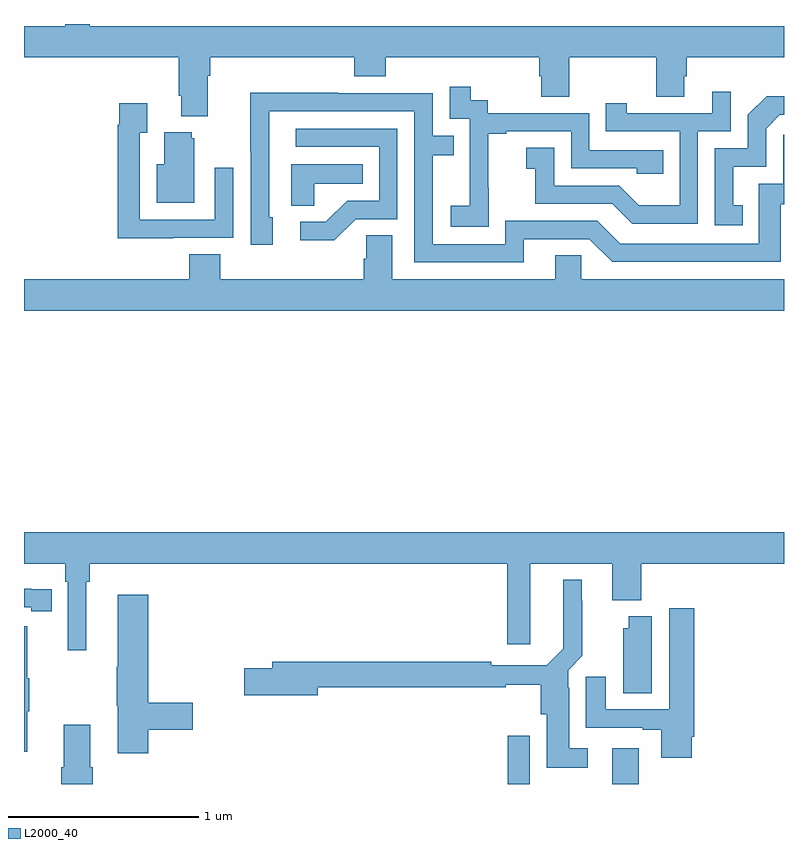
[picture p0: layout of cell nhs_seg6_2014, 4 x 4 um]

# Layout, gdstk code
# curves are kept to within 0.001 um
import gdstk
lib = gdstk.Library(unit=1e-6, precision=1e-09)
def R(c, l, rs):  # rectangles x0, y0, x1, y1
    for r in rs: c.add(gdstk.rectangle(r[:2], r[2:], *l))
def P(c, l, *ps):  # polygons
    for p in ps: c.add(gdstk.Polygon(p, *l))
L2000_40 = (2000, 40)

nhs_seg6_2014 = lib.new_cell('nhs_seg6_2014')
R(nhs_seg6_2014, L2000_40, [(233.545,955.5,233.661,955.753), (234.095,955.5,234.235,955.687)])
P(nhs_seg6_2014, L2000_40, [(231.347,959.5),(231.218,959.5),(231.218,959.488),(231,959.488),(231,959.324),(231.815,959.324),(231.815,959.122),(231.827,959.122),(231.827,959.015),(231.967,959.015),(231.967,959.228),(231.98,959.228),(231.98,959.324),(232.739,959.324),(232.739,959.225),(232.904,959.225),(232.904,959.324),(233.711,959.324),(233.711,959.226),(233.723,959.226),(233.723,959.116),(233.871,959.116),(233.871,959.324),(234.328,959.324),(234.328,959.116),(234.475,959.116),(234.475,959.226),(234.488,959.226),(234.488,959.324),(235,959.324),(235,959.488),(231.347,959.488)],
  [(233.445,958.639),(233.444,958.639),(233.444,958.923),(233.539,958.923),(233.539,958.935),(233.88,958.935),(233.88,958.74),(234.225,958.74),(234.225,958.713),(234.365,958.713),(234.365,958.836),(233.976,958.836),(233.976,959.031),(233.442,959.031),(233.442,959.1),(233.35,959.1),(233.35,959.17),(233.241,959.17),(233.241,959.001),(233.346,959.001),(233.346,958.772),(233.345,958.772),(233.345,958.543),(233.247,958.543),(233.247,958.433),(233.445,958.433)],
  [(234.546,958.935),(234.72,958.935),(234.72,959.143),(234.623,959.143),(234.623,959.031),(234.172,959.031),(234.172,959.083),(234.061,959.083),(234.061,958.935),(234.45,958.935),(234.45,958.546),(234.236,958.546),(234.132,958.65),(233.79,958.65),(233.79,958.849),(233.643,958.849),(233.643,958.739),(233.692,958.739),(233.692,958.554),(234.095,958.554),(234.2,958.449),(234.546,958.449)],
  [(233.629,958.368),(233.976,958.368),(234.096,958.248),(234.983,958.248),(234.983,958.551),(235,958.551),(235,958.918),(234.996,958.918),(234.996,958.659),(234.867,958.659),(234.867,958.344),(234.138,958.344),(234.018,958.464),(233.532,958.464),(233.532,958.341),(233.151,958.341),(233.151,958.81),(233.261,958.81),(233.261,958.911),(233.151,958.911),(233.151,959.136),(232.655,959.136),(232.655,959.138),(232.192,959.138),(232.192,958.831),(232.194,958.831),(232.194,958.338),(232.309,958.338),(232.309,958.482),(232.29,958.482),(232.29,959.04),(233.055,959.04),(233.055,958.245),(233.629,958.245)],
  [(234.782,958.545),(234.733,958.545),(234.733,958.749),(234.906,958.749),(234.906,958.95),(234.978,959.022),(235,959.022),(235,959.12),(234.908,959.12),(234.81,959.022),(234.81,958.845),(234.636,958.845),(234.636,958.44),(234.782,958.44)],
  [(231.785,958.374),(232.101,958.374),(232.101,958.744),(232.005,958.744),(232.005,958.47),(231.609,958.47),(231.609,958.927),(231.649,958.927),(231.649,959.083),(231.501,959.083),(231.501,958.97),(231.493,958.97),(231.493,958.373),(231.785,958.373)],
  [(232.746,958.473),(232.965,958.473),(232.965,958.95),(232.431,958.95),(232.431,958.854),(232.869,958.854),(232.869,958.569),(232.7,958.569),(232.589,958.458),(232.455,958.458),(232.455,958.361),(232.633,958.361)],
  [(231.895,958.899),(231.884,958.899),(231.884,958.93),(231.737,958.93),(231.737,958.762),(231.698,958.762),(231.698,958.559),(231.895,958.559)],
  [(232.527,958.658),(232.784,958.658),(232.784,958.762),(232.406,958.762),(232.406,958.543),(232.527,958.543)],
  [(235,958.156),(233.934,958.156),(233.934,958.283),(233.795,958.283),(233.795,958.156),(232.939,958.156),(232.939,958.388),(232.8,958.388),(232.8,958.265),(232.787,958.265),(232.787,958.156),(232.034,958.156),(232.034,958.289),(231.869,958.289),(231.869,958.156),(231,958.156),(231,957.992),(235,957.992)],
  [(231.328,956.564),(231.347,956.564),(231.347,956.66),(233.543,956.66),(233.543,956.235),(233.665,956.235),(233.665,956.66),(234.095,956.66),(234.095,956.468),(234.248,956.468),(234.248,956.66),(235,956.66),(235,956.824),(231,956.824),(231,956.66),(231.218,956.66),(231.218,956.564),(231.231,956.564),(231.231,956.205),(231.328,956.205)],
  [(233.968,955.687),(233.869,955.687),(233.869,956.006),(233.865,956.006),(233.865,956.1),(233.939,956.174),(233.939,956.465),(233.935,956.465),(233.935,956.575),(233.837,956.575),(233.838,956.212),(233.75,956.124),(233.459,956.124),(233.459,956.144),(232.307,956.144),(232.307,956.108),(232.158,956.108),(232.158,955.966),(232.546,955.966),(232.546,956.008),(233.536,956.008),(233.536,956.023),(233.72,956.023),(233.72,955.866),(233.75,955.866),(233.75,955.586),(233.968,955.586)],
  [(231.146,956.526),(231.038,956.526),(231.038,956.527),(231,956.527),(231,956.43),(231.038,956.43),(231.038,956.41),(231.146,956.41)],
  [(231.653,955.786),(231.889,955.786),(231.889,955.928),(231.653,955.928),(231.653,956.497),(231.494,956.497),(231.494,956.117),(231.487,956.117),(231.487,955.911),(231.494,955.911),(231.494,955.662),(231.653,955.662)],
  [(234.514,955.75),(234.527,955.75),(234.527,956.425),(234.395,956.425),(234.395,955.893),(234.061,955.893),(234.061,956.065),(233.957,956.065),(233.957,955.797),(234.257,955.797),(234.257,955.785),(234.353,955.785),(234.353,955.638),(234.514,955.638)],
  [(234.304,956.383),(234.182,956.383),(234.182,956.319),(234.155,956.319),(234.155,955.978),(234.304,955.978)],
  [(231.017,955.883),(231.028,955.883),(231.028,956.057),(231.017,956.057),(231.017,956.329),(231,956.329),(231,955.671),(231.017,955.671)],
  [(231.362,955.588),(231.349,955.588),(231.349,955.813),(231.209,955.813),(231.209,955.588),(231.197,955.588),(231.197,955.5),(231.362,955.5)])

lib.write_gds('nhs_seg6_2014.gds')
